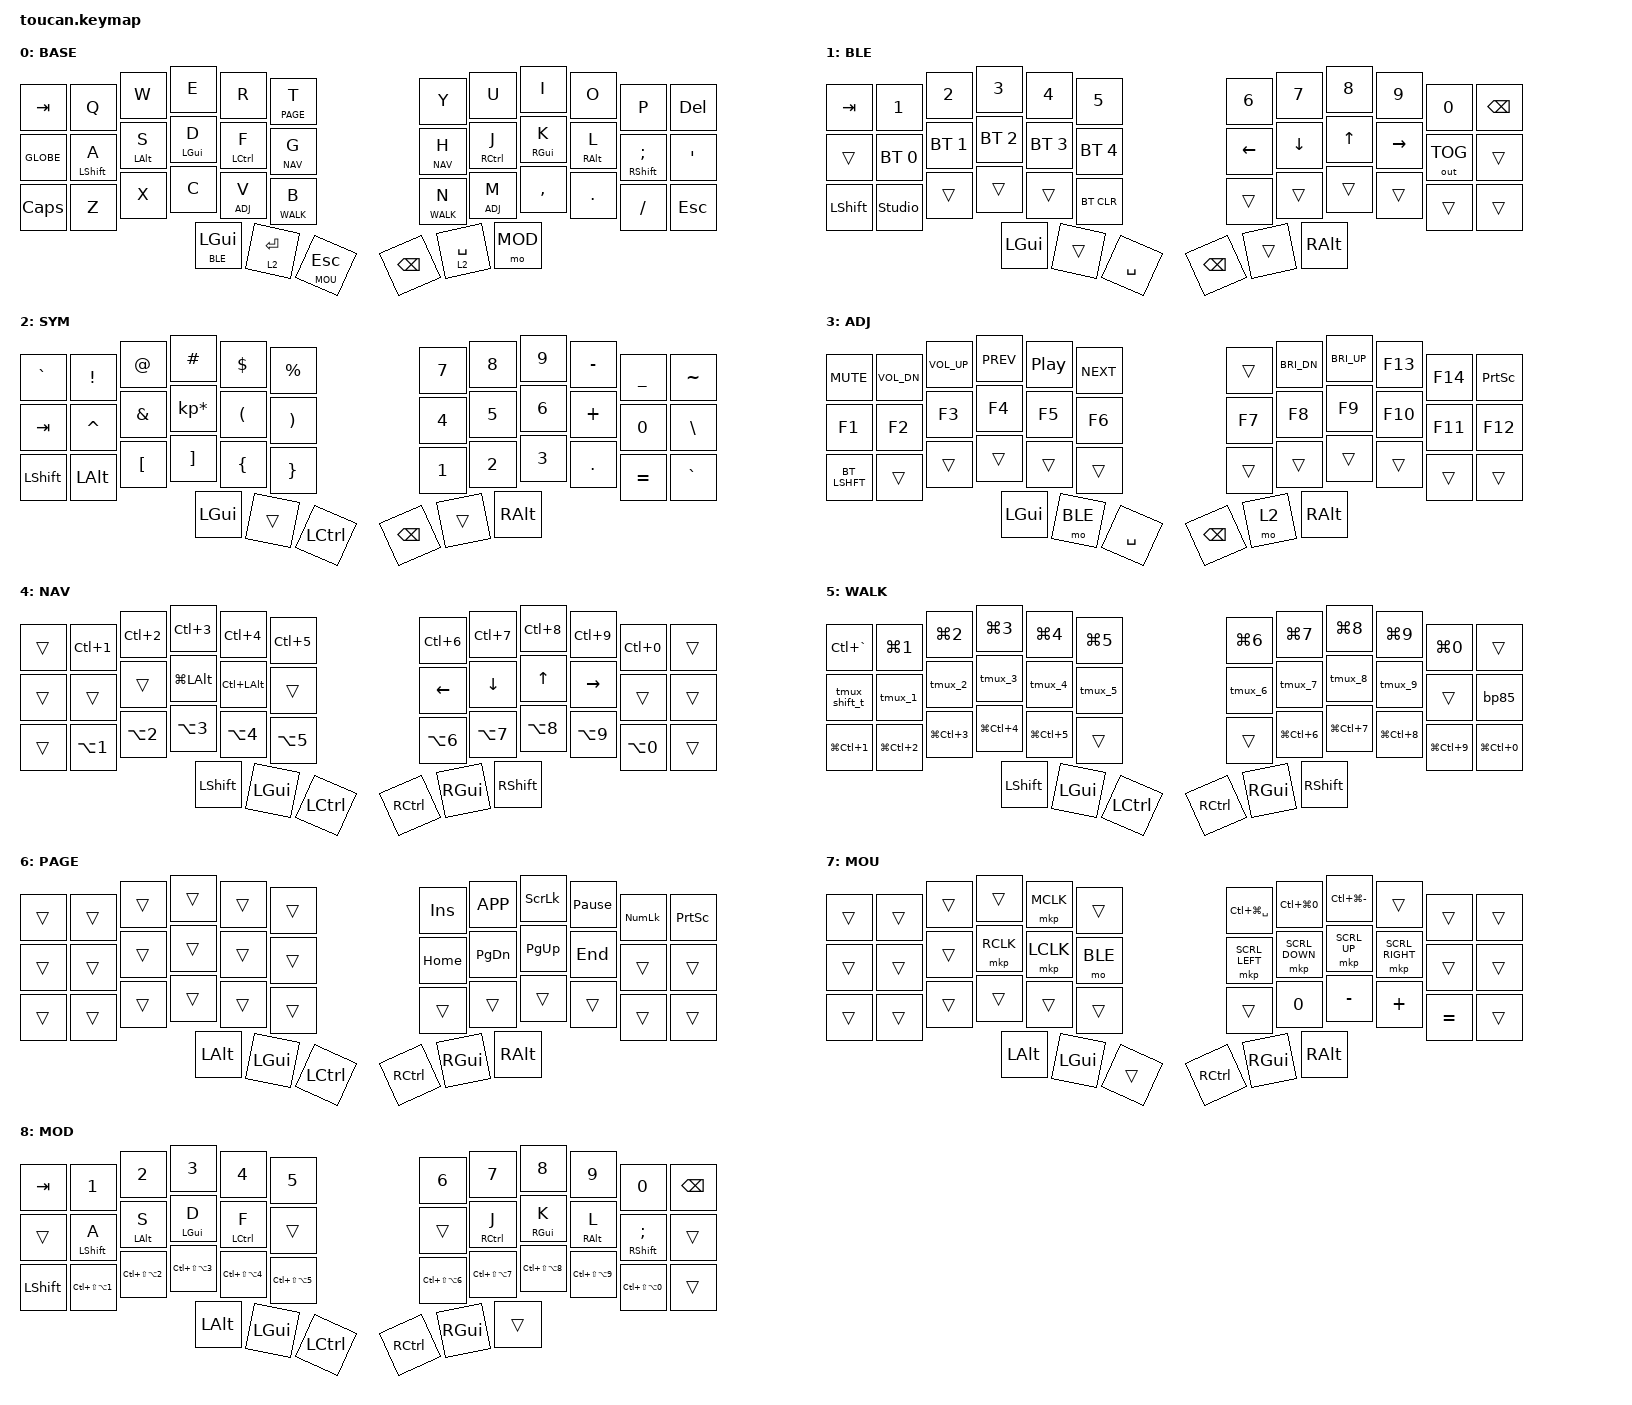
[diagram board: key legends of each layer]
#include <behaviors.dtsi>
#include <dt-bindings/zmk/keys.h>
#include <dt-bindings/zmk/bt.h>
#include <dt-bindings/zmk/outputs.h>
#include <dt-bindings/zmk/mouse.h>

#define BASE 0
#define BLE  1
#define SYM  2
#define ADJ  3
#define NAV  4
#define WALK 5
#define MOU  7
#define PAGE 6
#define MOD  8

/ {
    behaviors {
        hml: home_row_mod_left {
            compatible = "zmk,behavior-hold-tap";
            #binding-cells = <2>;
            bindings = <&kp>, <&kp>;
            flavor = "balanced";
            tapping-term-ms = <280>;
            quick-tap-ms = <175>;
            require-prior-idle-ms = <150>;
            hold-trigger-key-positions = <6 7 8 9 10 11 18 19 20 21 22 23 30 31 32 33 34 35 39 40 41>;
            hold-trigger-on-release;
        };

        hmr: home_row_mod_right {
            compatible = "zmk,behavior-hold-tap";
            #binding-cells = <2>;
            bindings = <&kp>, <&kp>;
            flavor = "balanced";
            tapping-term-ms = <280>;
            quick-tap-ms = <175>;
            require-prior-idle-ms = <150>;
            hold-trigger-key-positions = <0 1 2 3 4 5 12 13 14 15 16 17 24 25 26 27 28 29 36 37 38>;
            hold-trigger-on-release;
        };
    };

    macros {
        tmux_1: tmux_1 {
            compatible = "zmk,behavior-macro";
            #binding-cells = <0>;
            bindings = <&kp LC(B) &kp N1>;
        };
        tmux_2: tmux_2 {
            compatible = "zmk,behavior-macro";
            #binding-cells = <0>;
            bindings = <&kp LC(B) &kp N2>;
        };
        tmux_3: tmux_3 {
            compatible = "zmk,behavior-macro";
            #binding-cells = <0>;
            bindings = <&kp LC(B) &kp N3>;
        };
        tmux_4: tmux_4 {
            compatible = "zmk,behavior-macro";
            #binding-cells = <0>;
            bindings = <&kp LC(B) &kp N4>;
        };
        tmux_5: tmux_5 {
            compatible = "zmk,behavior-macro";
            #binding-cells = <0>;
            bindings = <&kp LC(B) &kp N5>;
        };
        tmux_6: tmux_6 {
            compatible = "zmk,behavior-macro";
            #binding-cells = <0>;
            bindings = <&kp LC(B) &kp N6>;
        };
        tmux_7: tmux_7 {
            compatible = "zmk,behavior-macro";
            #binding-cells = <0>;
            bindings = <&kp LC(B) &kp N7>;
        };
        tmux_8: tmux_8 {
            compatible = "zmk,behavior-macro";
            #binding-cells = <0>;
            bindings = <&kp LC(B) &kp N8>;
        };
        tmux_9: tmux_9 {
            compatible = "zmk,behavior-macro";
            #binding-cells = <0>;
            bindings = <&kp LC(B) &kp N9>;
        };
        tmux_shift_t: tmux_shift_t {
            compatible = "zmk,behavior-macro";
            #binding-cells = <0>;
            bindings = <&kp LC(B) &kp LS(T)>;
        };
        bp85: bp85 {
            compatible = "zmk,behavior-macro";
            #binding-cells = <0>;
            bindings = <&kp LS(B) &kp LS(P) &kp N8 &kp N5 &kp RET>;
        };
    };

    keymap {
        compatible = "zmk,keymap";

        base {
            display-name = "BASE";
            bindings = <
                &kp TAB   &kp Q &kp W &kp E &kp R &lt PAGE T   &kp Y &kp U  &kp I     &kp O   &kp P    &kp DEL
                &kp GLOBE &hml LSHFT A &hml LALT S &hml LGUI D &hml LCTRL F &lt NAV G   &lt NAV H &hmr RCTRL J  &hmr RGUI K     &hmr RALT L   &hmr RSHFT SEMI &kp SQT
                &kp CAPS &kp Z &kp X &kp C &lt ADJ V &lt WALK B   &lt WALK N &lt ADJ M  &kp COMMA &kp DOT &kp FSLH &kp ESC
                                &lt BLE LGUI &lt 2 RET &lt MOU ESC   &kp BSPC &lt 2 SPACE &mo MOD
            >;
        };

        ble {
            display-name = "BLE";
            bindings = <
                &kp TAB     &kp N1          &kp N2       &kp N3       &kp N4       &kp N5         &kp N6   &kp N7   &kp N8 &kp N9    &kp N0 &kp BSPC
                &trans      &bt BT_SEL 0    &bt BT_SEL 1 &bt BT_SEL 2 &bt BT_SEL 3 &bt BT_SEL 4   &kp LEFT &kp DOWN &kp UP &kp RIGHT &out OUT_TOG &trans
                &kp LSHFT   &studio_unlock  &trans       &trans       &trans       &bt BT_CLR     &trans   &trans   &trans &trans    &trans &trans
                                                &kp LGUI     &trans       &kp SPACE      &kp BSPC  &trans   &kp RALT
            >;
        };

        sym {
            display-name = "SYM";
            bindings = <
                &kp GRAVE &kp EXCL &kp AT &kp HASH &kp DLLR  &kp PRCNT   &kp N7 &kp N8 &kp N9          &kp MINUS &kp UNDER &kp TILDE
                &kp TAB   &kp CARET &kp AMPS &kp KP_MULTIPLY &kp LPAR &kp RPAR   &kp N4 &kp N5 &kp N6 &kp PLUS  &kp N0    &kp BSLH
                &kp LSHFT &kp LALT &kp LBKT &kp RBKT &kp LBRC &kp RBRC   &kp N1 &kp N2 &kp N3         &kp DOT   &kp EQUAL &kp GRAVE
                                          &kp LGUI &trans   &kp LCTRL   &kp BSPC   &trans    &kp RALT
            >;
        };

        adj {
            display-name = "ADJ";
            bindings = <
                &kp C_MUTE &kp C_VOL_DN &kp C_VOL_UP &kp C_PREV &kp C_PP &kp C_NEXT   &trans &kp C_BRI_DN &kp C_BRI_UP &kp F13 &kp F14 &kp PSCRN
                &kp F1     &kp F2       &kp F3       &kp F4 &kp F5     &kp F6     &kp F7     &kp F8       &kp F9       &kp F10 &kp F11 &kp F12
                &bt LSHFT &trans &trans &trans &trans &trans   &trans       &trans      &trans       &trans &trans &trans
                                   &kp LGUI &mo BLE &kp SPACE   &kp BSPC &mo 2 &kp RALT
            >;
        };
        nav {
            display-name = "NAV";
            bindings = <
                &trans &kp LC(N1) &kp LC(N2) &kp LC(N3) &kp LC(N4) &kp LC(N5)   &kp LC(N6) &kp LC(N7) &kp LC(N8) &kp LC(N9) &kp LC(N0) &trans
                &trans &trans  &trans  &kp LG(LALT)  &kp LC(LALT)  &trans    &kp LEFT &kp DOWN &kp UP &kp RIGHT  &trans &trans
                &trans &kp LA(N1) &kp LA(N2) &kp LA(N3) &kp LA(N4) &kp LA(N5)   &kp LA(N6) &kp LA(N7) &kp LA(N8) &kp LA(N9) &kp LA(N0) &trans
                                       &kp LSHFT  &kp LGUI  &kp LCTRL    &kp RCTRL  &kp RGUI  &kp RSHFT
            >;
        };

        walk {
            display-name = "WALK";
            bindings = <
                &kp LC(GRAVE) &kp LG(N1) &kp LG(N2) &kp LG(N3) &kp LG(N4) &kp LG(N5)   &kp LG(N6) &kp LG(N7) &kp LG(N8) &kp LG(N9) &kp LG(N0) &trans
                &tmux_shift_t &tmux_1 &tmux_2 &tmux_3 &tmux_4 &tmux_5   &tmux_6 &tmux_7 &tmux_8 &tmux_9 &trans &bp85
                &kp LG(LC(N1)) &kp LG(LC(N2)) &kp LG(LC(N3)) &kp LG(LC(N4)) &kp LG(LC(N5)) &trans   &trans &kp LG(LC(N6)) &kp LG(LC(N7)) &kp LG(LC(N8)) &kp LG(LC(N9)) &kp LG(LC(N0))
                                             &kp LSHFT     &kp LGUI     &kp LCTRL       &kp RCTRL     &kp RGUI     &kp RSHFT
            >;
        };

        page {
            display-name = "PAGE";
            bindings = <
                &trans &trans &trans &trans &trans &trans   &kp INS &kp K_APP &kp SLCK &kp PAUSE_BREAK &kp KP_NUM &kp PSCRN
                &trans &trans &trans &trans &trans &trans    &kp HOME &kp PG_DN &kp PG_UP &kp END  &trans &trans
                &trans &trans &trans &trans &trans &trans   &trans &trans &trans &trans &trans &trans
                                       &kp LALT  &kp LGUI  &kp LCTRL    &kp RCTRL  &kp RGUI  &kp RALT
            >;
        };

        mou {
            display-name = "MOU";
            bindings = <
                &trans &trans &trans &trans &mkp MCLK &trans   &kp LC(LG(SPACE)) &kp LC(LG(N0)) &kp LC(LG(MINUS)) &trans &trans &trans
                &trans &trans &trans &mkp RCLK &mkp LCLK &mo BLE   &mkp SCRL_LEFT &mkp SCRL_DOWN &mkp SCRL_UP &mkp SCRL_RIGHT &trans &trans
                &trans &trans &trans &trans &trans &trans   &trans &kp N0 &kp MINUS &kp PLUS &kp EQUAL &trans
                              &kp LALT &kp LGUI &trans   &kp RCTRL &kp RGUI &kp RALT
            >;
        };

        mod {
            display-name = "MOD";
            bindings = <
                &kp TAB &kp N1 &kp N2 &kp N3 &kp N4 &kp N5   &kp N6 &kp N7 &kp N8 &kp N9 &kp N0 &kp BSPC
                &trans &hml LSHFT A &hml LALT S &hml LGUI D &hml LCTRL F &trans   &trans &hmr RCTRL J &hmr RGUI K &hmr RALT L &hmr RSHFT SEMI &trans
                &kp LSHFT &kp LC(LS(LA(N1))) &kp LC(LS(LA(N2))) &kp LC(LS(LA(N3))) &kp LC(LS(LA(N4))) &kp LC(LS(LA(N5)))   &kp LC(LS(LA(N6))) &kp LC(LS(LA(N7))) &kp LC(LS(LA(N8))) &kp LC(LS(LA(N9))) &kp LC(LS(LA(N0))) &trans
                                       &kp LALT  &kp LGUI  &kp LCTRL    &kp RCTRL  &kp RGUI  &trans
            >;
        };
    };
};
